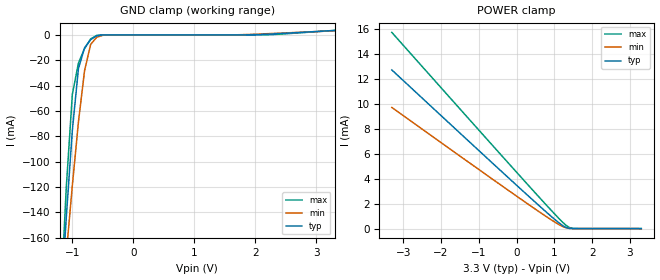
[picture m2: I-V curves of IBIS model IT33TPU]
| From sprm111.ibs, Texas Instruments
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[Model]   IT33TPU
| Input with pullup
Model_type   Input
Polarity   Non-Inverting
| signals   A, Y
Vinl = 0.8V
Vinh = 2.0V
|   typ   min   max
C_comp   1.6130p   1.5354p   1.7989p
|   typ   min   max
[Temperature Range]   25   -40   125
|   typ   min   max
[Voltage Range]   3.30V   3.00V   3.60V
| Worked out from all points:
|   GND clamp passes 1 mA (typ) near -0.61 V on its own axis
[GND_clamp]
|   Voltage   I(typ)   I(min)   I(max)
-3.3V     -2.005A    -1.515A    -2.6A
-1.2V     -220.9mA   -229.9mA   -219mA
-1.1V     -144.4mA   -173.2mA   -120.8mA
-1V       -75.16mA   -118.7mA   -46.83mA
-900mV    -26.56mA   -68.67mA   -22.24mA
-800mV    -10.21mA   -28.34mA   -10.81mA
-700mV    -3.767mA   -7.526mA   -3.181mA
-600mV    -734.6uA   -1.835mA   -363.9uA
-400mV    -3.756uA   -40.45uA   -379.8nA
1.6V      1.998uA    14.15uA    674.2nA
2.2V      515.8uA    941uA      84.84uA
3.3V      3.487mA    3.252mA    3.523mA
[POWER_clamp]
|   Voltage   I(typ)   I(min)   I(max)
-3.3V     12.75mA    9.736mA    15.76mA
300mV     2.657mA    1.977mA    3.523mA
1V        767.6uA    546.6uA    1.2mA
1.3V      100.7uA    70.16uA    285.4uA
1.4V      17.88uA    13.68uA    83.7uA
1.5V      5.457uA    2.621uA    15.29uA
3.3V      -178.8pA   -3.889uA   -49.96pA
